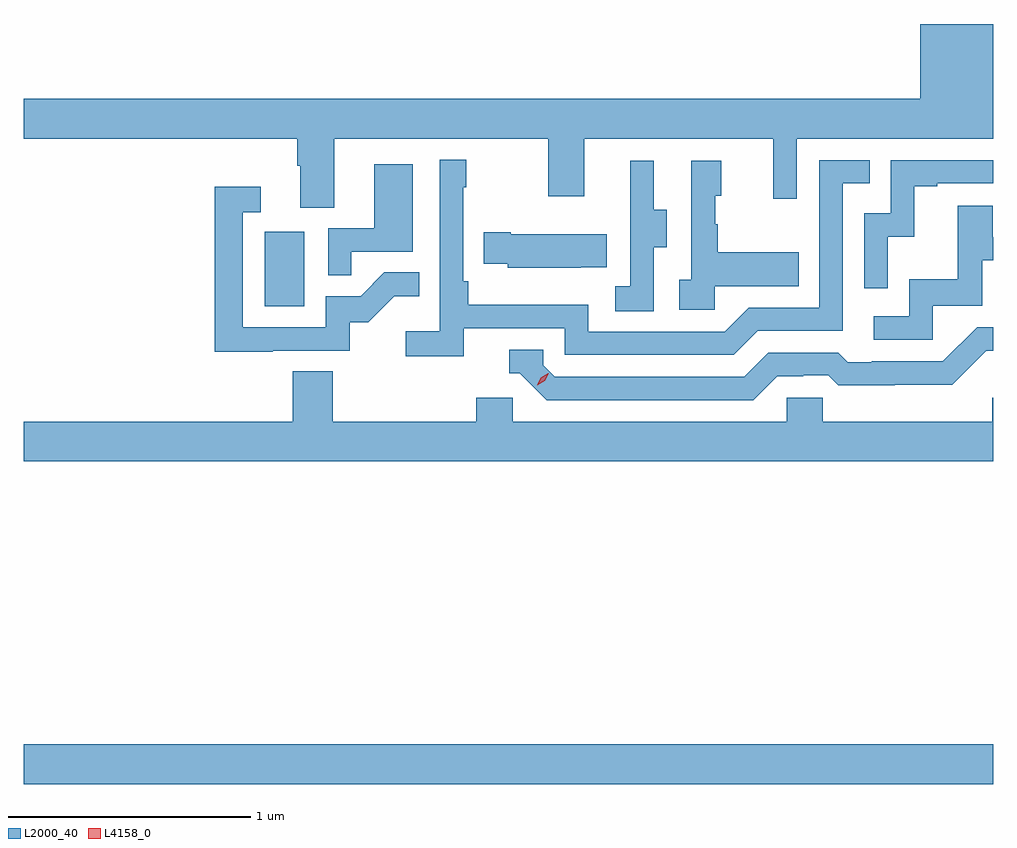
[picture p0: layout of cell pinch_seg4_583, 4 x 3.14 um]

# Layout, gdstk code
import gdstk
lib = gdstk.Library(unit=1e-6, precision=1e-09)
def R(c, l, rs):  # rectangles x0, y0, x1, y1
    for r in rs: c.add(gdstk.rectangle(r[:2], r[2:], *l))
def P(c, l, *ps):  # polygons
    for p in ps: c.add(gdstk.Polygon(p, *l))
L2000_40 = (2000, 40)
L4158_0 = (4158, 0)

pinch_seg4_583 = lib.new_cell('pinch_seg4_583')
R(pinch_seg4_583, L2000_40, [(1052.327,779.504,1056.327,779.668), (1053.32,781.476,1053.484,781.783)])
P(pinch_seg4_583, L2000_40, [(1053.607,782.168),(1054.492,782.168),(1054.492,781.929),(1054.639,781.929),(1054.639,782.168),(1055.42,782.168),(1055.42,781.92),(1055.517,781.92),(1055.517,782.168),(1056.327,782.168),(1056.327,782.641),(1056.026,782.641),(1056.026,782.332),(1052.327,782.332),(1052.327,782.168),(1053.455,782.168),(1053.455,782.056),(1053.467,782.056),(1053.467,781.882),(1053.607,781.882)],
  [(1054.142,781.386),(1054.56,781.386),(1054.56,781.275),(1055.257,781.275),(1055.356,781.374),(1055.706,781.374),(1055.706,781.983),(1055.819,781.983),(1055.819,782.079),(1055.61,782.079),(1055.61,781.47),(1055.319,781.47),(1055.22,781.371),(1054.656,781.371),(1054.656,781.483),(1054.16,781.483),(1054.16,781.579),(1054.14,781.579),(1054.14,781.967),(1054.153,781.967),(1054.153,782.08),(1054.044,782.08),(1054.044,781.372),(1053.903,781.372),(1053.903,781.27),(1054.142,781.27)],
  [(1055.892,781.763),(1056.002,781.763),(1056.002,781.971),(1056.097,781.971),(1056.097,781.983),(1056.327,781.983),(1056.327,782.079),(1055.904,782.079),(1055.904,781.86),(1055.796,781.86),(1055.796,781.551),(1055.892,781.551)],
  [(1055.178,781.559),(1055.525,781.559),(1055.525,781.699),(1055.191,781.699),(1055.191,781.814),(1055.181,781.814),(1055.181,781.932),(1055.206,781.932),(1055.206,782.077),(1055.082,782.077),(1055.082,781.586),(1055.031,781.586),(1055.031,781.461),(1055.178,781.461)],
  [(1054.926,781.72),(1054.981,781.72),(1054.981,781.875),(1054.927,781.875),(1054.927,782.077),(1054.829,782.077),(1054.829,781.863),(1054.83,781.863),(1054.83,781.559),(1054.767,781.559),(1054.767,781.456),(1054.926,781.456)],
  [(1053.677,781.701),(1053.931,781.701),(1053.931,782.062),(1053.773,782.062),(1053.773,781.797),(1053.582,781.797),(1053.582,781.603),(1053.677,781.603)],
  [(1053.353,781.293),(1053.672,781.293),(1053.672,781.41),(1053.748,781.41),(1053.855,781.517),(1053.959,781.517),(1053.959,781.616),(1053.815,781.616),(1053.717,781.518),(1053.573,781.518),(1053.573,781.389),(1053.231,781.389),(1053.231,781.863),(1053.304,781.863),(1053.304,781.969),(1053.115,781.969),(1053.115,781.288),(1053.353,781.288)],
  [(1056.078,781.479),(1056.283,781.479),(1056.283,781.665),(1056.327,781.665),(1056.327,781.761),(1056.325,781.761),(1056.325,781.891),(1056.181,781.891),(1056.181,781.588),(1055.982,781.588),(1055.982,781.434),(1055.835,781.434),(1055.835,781.338),(1056.078,781.338)],
  [(1054.625,781.637),(1054.733,781.637),(1054.733,781.774),(1054.336,781.774),(1054.336,781.782),(1054.225,781.782),(1054.225,781.652),(1054.323,781.652),(1054.323,781.634),(1054.625,781.634)],
  [(1055.437,781.188),(1055.544,781.188),(1055.544,781.191),(1055.647,781.191),(1055.689,781.149),(1055.922,781.149),(1055.922,781.151),(1056.158,781.151),(1056.3,781.293),(1056.327,781.293),(1056.327,781.389),(1056.261,781.389),(1056.12,781.248),(1055.827,781.248),(1055.827,781.245),(1055.728,781.245),(1055.689,781.284),(1055.4,781.284),(1055.301,781.185),(1054.518,781.185),(1054.47,781.233),(1054.47,781.296),(1054.331,781.296),(1054.331,781.2),(1054.374,781.2),(1054.485,781.089),(1055.338,781.089)],
  [(1053.437,781.208),(1053.437,781),(1052.327,781),(1052.327,780.836),(1056.327,780.836),(1056.327,781.098),(1056.323,781.098),(1056.323,781),(1055.625,781),(1055.625,781.098),(1055.475,781.098),(1055.475,781),(1054.344,781),(1054.344,781.098),(1054.193,781.098),(1054.193,781),(1053.602,781),(1053.602,781.208)])
P(pinch_seg4_583, L4158_0, [(1054.445,781.149),(1054.445,781.149),(1054.461,781.181),(1054.492,781.2),(1054.493,781.2),(1054.493,781.2),(1054.476,781.168),(1054.445,781.149)])

lib.write_gds('pinch_seg4_583.gds')
